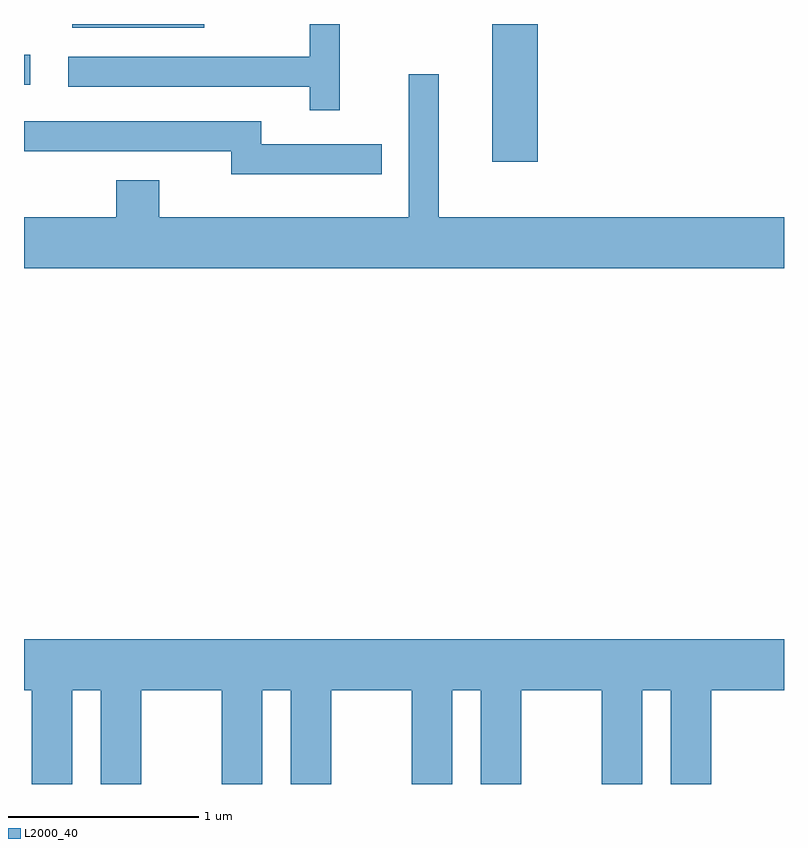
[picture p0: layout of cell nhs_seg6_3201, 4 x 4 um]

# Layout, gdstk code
import gdstk
lib = gdstk.Library(unit=1e-6, precision=1e-09)
def R(c, l, rs):  # rectangles x0, y0, x1, y1
    for r in rs: c.add(gdstk.rectangle(r[:2], r[2:], *l))
def P(c, l, *ps):  # polygons
    for p in ps: c.add(gdstk.Polygon(p, *l))
L2000_40 = (2000, 40)

nhs_seg6_3201 = lib.new_cell('nhs_seg6_3201')
R(nhs_seg6_3201, L2000_40, [(284.076,1599.436,284.314,1600.162), (281.611,1599.841,281.643,1599.999), (281.866,1600.141,282.559,1600.162)])
P(nhs_seg6_3201, L2000_40, [(283.274,1600.162),(283.116,1600.162),(283.116,1599.989),(281.843,1599.989),(281.843,1599.831),(283.116,1599.831),(283.116,1599.708),(283.274,1599.708)],
  [(285.611,1599.144),(283.794,1599.144),(283.794,1599.898),(283.636,1599.898),(283.636,1599.144),(282.324,1599.144),(282.324,1599.339),(282.096,1599.339),(282.096,1599.144),(281.611,1599.144),(281.611,1598.876),(285.611,1598.876)],
  [(283.493,1599.529),(282.859,1599.529),(282.859,1599.649),(281.611,1599.649),(281.611,1599.491),(282.701,1599.491),(282.701,1599.371),(283.493,1599.371)],
  [(281.864,1596.656),(282.016,1596.656),(282.016,1596.162),(282.229,1596.162),(282.229,1596.656),(282.651,1596.656),(282.651,1596.162),(282.864,1596.162),(282.864,1596.656),(283.016,1596.656),(283.016,1596.162),(283.229,1596.162),(283.229,1596.656),(283.651,1596.656),(283.651,1596.162),(283.864,1596.162),(283.864,1596.656),(284.016,1596.656),(284.016,1596.162),(284.229,1596.162),(284.229,1596.656),(284.651,1596.656),(284.651,1596.162),(284.864,1596.162),(284.864,1596.656),(285.016,1596.656),(285.016,1596.162),(285.229,1596.162),(285.229,1596.656),(285.611,1596.656),(285.611,1596.924),(281.611,1596.924),(281.611,1596.656),(281.651,1596.656),(281.651,1596.162),(281.864,1596.162)])

lib.write_gds('nhs_seg6_3201.gds')
